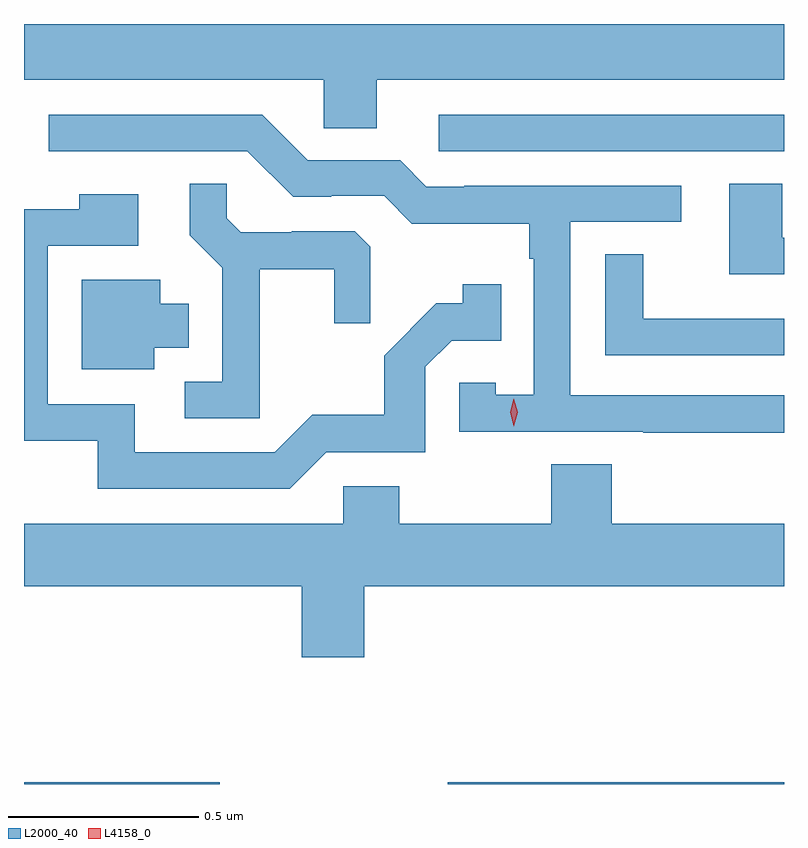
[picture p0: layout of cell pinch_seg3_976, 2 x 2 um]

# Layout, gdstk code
import gdstk
lib = gdstk.Library(unit=1e-6, precision=1e-09)
def R(c, l, rs):  # rectangles x0, y0, x1, y1
    for r in rs: c.add(gdstk.rectangle(r[:2], r[2:], *l))
def P(c, l, *ps):  # polygons
    for p in ps: c.add(gdstk.Polygon(p, *l))
L2000_40 = (2000, 40)
L4158_0 = (4158, 0)

pinch_seg3_976 = lib.new_cell('pinch_seg3_976')
R(pinch_seg3_976, L2000_40, [(475.965,709.719,476.48,709.724), (477.08,709.719,477.965,709.724), (477.057,711.384,477.965,711.48)])
P(pinch_seg3_976, L2000_40, [(477.965,711.719),(475.965,711.719),(475.965,711.572),(476.754,711.572),(476.754,711.445),(476.893,711.445),(476.893,711.572),(477.965,711.572)],
  [(477.965,710.742),(477.402,710.742),(477.402,711.198),(477.694,711.198),(477.694,711.294),(477.124,711.294),(477.124,711.291),(477.024,711.291),(476.955,711.36),(476.712,711.36),(476.592,711.48),(476.03,711.48),(476.03,711.384),(476.553,711.384),(476.673,711.264),(476.774,711.264),(476.774,711.267),(476.913,711.267),(476.986,711.194),(477.294,711.194),(477.294,711.101),(477.306,711.101),(477.306,710.743),(477.207,710.743),(477.207,710.775),(477.111,710.775),(477.111,710.646),(477.595,710.646),(477.595,710.644),(477.965,710.644)],
  [(477.965,711.156),(477.961,711.156),(477.961,711.299),(477.821,711.299),(477.821,711.06),(477.965,711.06)],
  [(476.585,711.074),(476.782,711.074),(476.782,710.931),(476.876,710.931),(476.876,711.133),(476.835,711.174),(476.67,711.174),(476.67,711.171),(476.536,711.171),(476.499,711.208),(476.499,711.299),(476.401,711.299),(476.401,711.163),(476.487,711.077),(476.487,710.778),(476.388,710.778),(476.388,710.682),(476.585,710.682)],
  [(476.76,710.592),(477.021,710.592),(477.021,710.817),(477.09,710.886),(477.221,710.886),(477.221,711.034),(477.12,711.034),(477.12,710.984),(477.05,710.984),(476.913,710.846),(476.913,710.691),(476.724,710.691),(476.625,710.592),(476.257,710.592),(476.257,710.718),(476.028,710.718),(476.028,711.135),(476.266,711.135),(476.266,711.271),(476.11,711.271),(476.11,711.231),(475.965,711.231),(475.965,710.622),(476.159,710.622),(476.159,710.496),(476.664,710.496)],
  [(477.965,710.943),(477.594,710.943),(477.594,711.113),(477.495,711.113),(477.495,710.847),(477.965,710.847)],
  [(476.308,710.867),(476.398,710.867),(476.398,710.983),(476.323,710.983),(476.323,711.046),(476.117,711.046),(476.117,710.81),(476.308,710.81)],
  [(476.86,710.24),(477.965,710.24),(477.965,710.404),(477.512,710.404),(477.512,710.561),(477.352,710.561),(477.352,710.404),(476.952,710.404),(476.952,710.502),(476.805,710.502),(476.805,710.404),(475.965,710.404),(475.965,710.24),(476.696,710.24),(476.696,710.052),(476.86,710.052)])
P(pinch_seg3_976, L4158_0, [(477.254,710.661),(477.254,710.661),(477.244,710.697),(477.254,710.733),(477.254,710.733),(477.254,710.733),(477.264,710.697),(477.254,710.661)])

lib.write_gds('pinch_seg3_976.gds')
